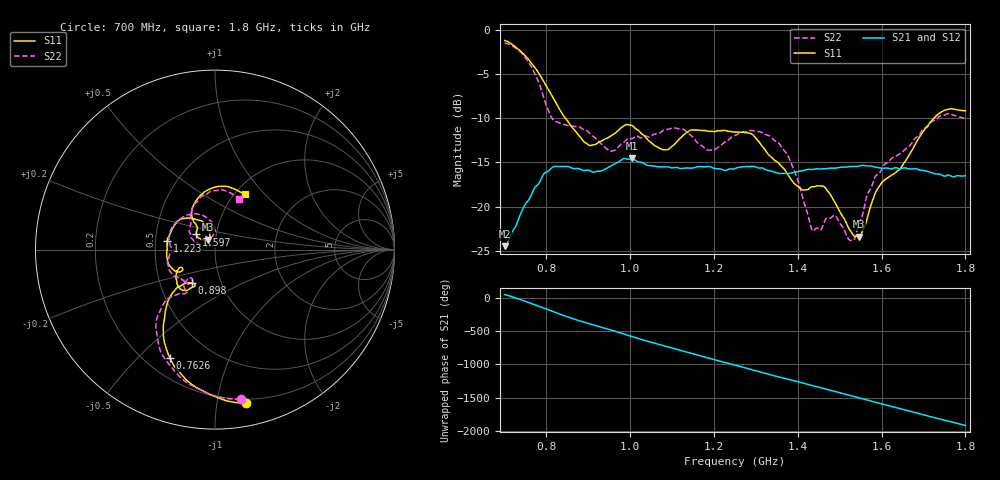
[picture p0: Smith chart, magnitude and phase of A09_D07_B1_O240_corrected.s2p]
! Created with skrf 1.9.0 (http://scikit-rf.org).
# Hz S RI R 50.0
!freq ReS11 ImS11 ReS21 ImS21 ReS12 ImS12 ReS22 ImS22
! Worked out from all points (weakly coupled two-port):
!   1601 points, 700 MHz to 1.8 GHz, reference 50 ohm
!   highest |S21| = -14.54 dB at 1.003 GHz (marker M1); lowest = -24.5 dB at 700.7 MHz (marker M2)
!   lowest |S11| = -23.4 dB at 1.546 GHz (marker M3), VSWR 1.15, Z = 46.1 + j5.18 ohm
!   |S11| at or under -10 dB: 845.5 MHz to 1.725 GHz (879.1 MHz wide, 68.4 % of centre)
!   |S22| runs from -23.9 to -1.5 dB; largest |S21 - S12| = 0.0036
!   S11 on the Smith chart (normalised r, x): 700 MHz: 0.17, -1.21; 762.6 MHz: 0.30, -0.63; 898 MHz: 0.73, -0.28; 1.223 GHz: 0.58, +0.06; 1.597 GHz: 0.80, +0.14; 1.8 GHz: 1.11, +0.78
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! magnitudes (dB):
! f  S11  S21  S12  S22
! 700 MHz  -1.2  -24.5  -24.3  -1.5
! 700.7 MHz  -1.2  -24.5  -24.2  -1.5
! 762.6 MHz  -3.7  -18.8  -18.8  -4.0
! 814.8 MHz  -7.6  -15.5  -15.6  -10.1
! 883.6 MHz  -12.3  -15.8  -15.7  -11.1
! 898 MHz  -12.9  -15.9  -15.9  -11.5
! 953 MHz  -12.0  -15.4  -15.4  -13.7
! 1.003 GHz  -10.8  -14.5  -14.7  -12.3
! 1.067 GHz  -13.3  -15.5  -15.4  -11.7
! 1.223 GHz  -11.4  -15.9  -15.9  -12.8
! 1.25 GHz  -11.6  -15.7  -15.6  -11.9
! 1.291 GHz  -11.8  -15.5  -15.5  -11.4
! 1.357 GHz  -15.2  -16.3  -16.2  -12.9
! 1.395 GHz  -17.5  -16.1  -16.1  -16.3
! 1.434 GHz  -17.7  -15.8  -15.8  -22.6
! 1.488 GHz  -19.5  -15.7  -15.6  -21.0
! 1.529 GHz  -23.0  -15.5  -15.5  -23.9
! 1.546 GHz  -23.4  -15.4  -15.4  -21.9
! 1.597 GHz  -17.5  -15.6  -15.6  -16.1
! 1.617 GHz  -16.7  -15.7  -15.6  -14.9
! 1.733 GHz  -9.6  -16.3  -16.3  -10.0
! 1.8 GHz  -9.2  -16.5  -16.5  -10.1
